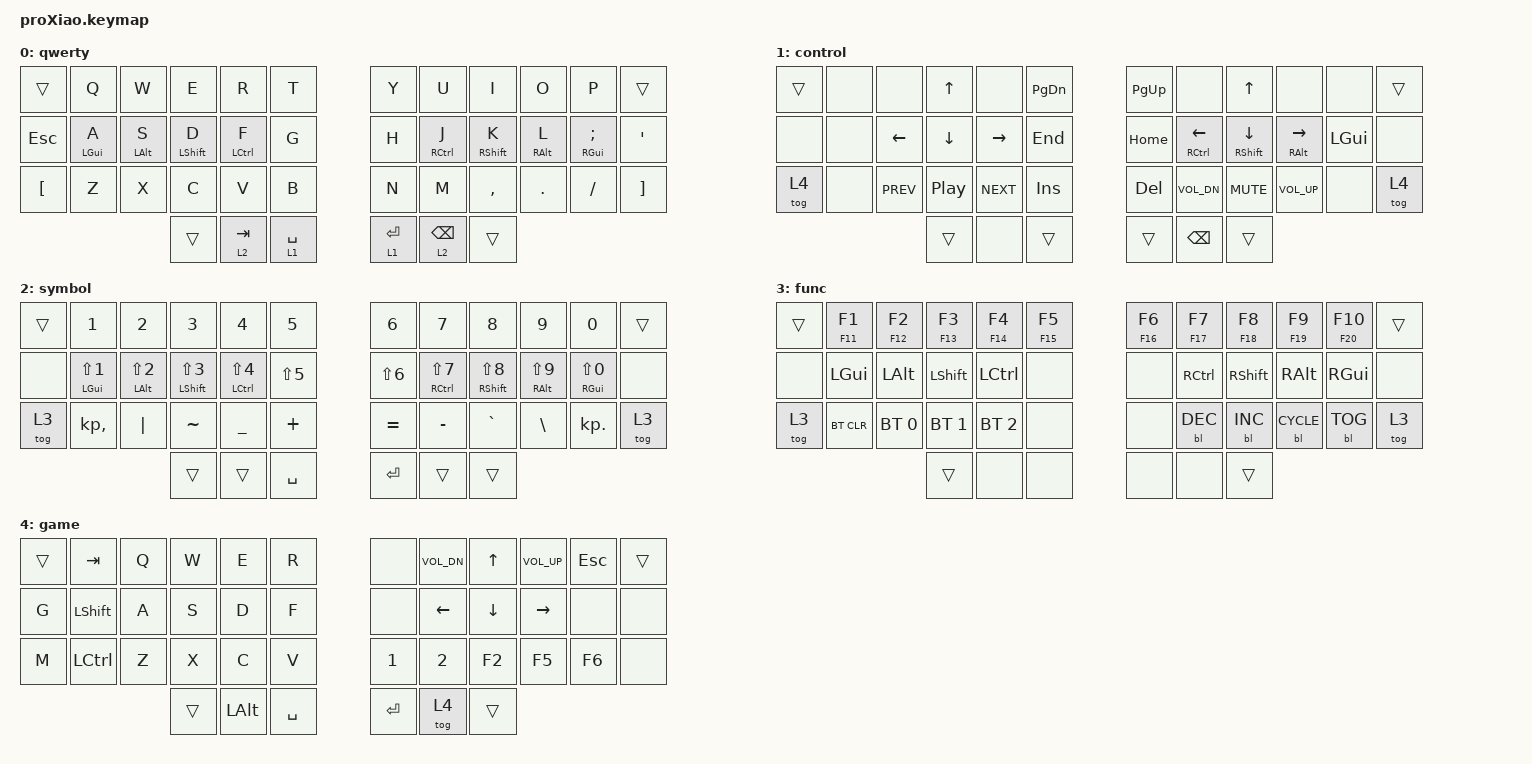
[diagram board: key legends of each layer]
/*
 * Copyright (c) 2020 The ZMK Contributors
 *
 * SPDX-License-Identifier: MIT
 */

#include <behaviors.dtsi>
#include <dt-bindings/zmk/backlight.h>
#include <dt-bindings/zmk/bt.h>
#include <dt-bindings/zmk/keys.h>

#define DEF 0
#define LWR 1
#define RSE 2
#define ADJ 3

&mt {
    tapping-term-ms = <280>;
    flavor = "balanced";
    quick-tap-ms = <175>;
    require-prior-idle-ms = <150>;
};

&lt {
    tapping-term-ms = <280>;
    quick-tap-ms = <175>;
    require-prior-idle-ms = <150>;
    flavor = "balanced";
};

/ {
    macros {
        // Windows sleep key
    };
};

/ {
    combos {
        compatible = "zmk,combos";

        next_input {
            bindings = <&kp LS(LALT)>;
            key-positions = <38 39>;
        };

        window2left {
            bindings = <&kp LS(LG(LEFT))>;
            key-positions = <2 3 4>;
        };

        window2right {
            bindings = <&kp LS(LG(RIGHT))>;
            key-positions = <7 8 9>;
        };
    };

    keymap {
        compatible = "zmk,keymap";

        qwerty {
            bindings = <
&trans            &kp Q           &kp W       &kp E        &kp R        &kp T        &kp Y        &kp U            &kp I        &kp O       &kp P               &trans
&kp ESCAPE        &mt LEFT_GUI A  &mt LALT S  &mt LSHFT D  &mt LCTRL F  &kp G        &kp H        &mt RCTRL J      &mt RSHFT K  &mt RALT L  &mt RGUI SEMICOLON  &kp SQT
&kp LEFT_BRACKET  &kp Z           &kp X       &kp C        &kp V        &kp B        &kp N        &kp M            &kp COMMA    &kp DOT     &kp SLASH           &kp RIGHT_BRACKET
                                              &trans       &lt 2 TAB    &lt 1 SPACE  &lt 1 ENTER  &lt 2 BACKSPACE  &trans
            >;
        };

        control {
            bindings = <
&trans  &none  &none       &kp UP            &none       &kp PG_DN   &kp PG_UP  &none                 &kp UP                &none           &none         &trans
&none   &none  &kp LEFT    &kp DOWN          &kp RIGHT   &kp END     &kp HOME   &mt RCTRL LEFT_ARROW  &mt RSHFT DOWN_ARROW  &mt RALT RIGHT  &kp LEFT_GUI  &none
&tog 4  &none  &kp C_PREV  &kp C_PLAY_PAUSE  &kp C_NEXT  &kp INSERT  &kp DEL    &kp C_VOL_DN          &kp C_MUTE            &kp C_VOL_UP    &none         &tog 4
                           &trans            &none       &trans      &trans     &kp BACKSPACE         &trans
            >;
        };

        symbol {
            bindings = <
&trans  &kp N1                     &kp N2                     &kp N3                  &kp N4                  &kp N5      &kp N6      &kp N7            &kp N8            &kp N9           &kp N0                &trans
&none   &mt LEFT_GUI LS(NUMBER_1)  &mt LEFT_ALT LS(NUMBER_2)  &mt LSHFT LS(NUMBER_3)  &mt LCTRL LS(NUMBER_4)  &kp LS(N5)  &kp LS(N6)  &mt RCTRL LS(N7)  &mt RSHFT LS(N8)  &mt RALT LS(N9)  &mt RIGHT_GUI LS(N0)  &none
&tog 3  &kp KP_COMMA               &kp PIPE                   &kp TILDE               &kp UNDER               &kp PLUS    &kp EQUAL   &kp MINUS         &kp GRAVE         &kp BACKSLASH    &kp KP_DOT            &tog 3
                                                              &trans                  &trans                  &kp SPACE   &kp ENTER   &trans            &trans
            >;
        };

        func {
            bindings = <
&trans  &mt F11 F1  &mt F12 F2    &mt F13 F3    &mt F14 F4    &mt F15 F5  &mt F16 F6  &mt F17 F7  &mt F18 F8  &mt F19 F9    &mt F20 F10  &trans
&none   &kp LGUI    &kp LALT      &kp LSHFT     &kp LCTRL     &none       &none       &kp RCTRL   &kp RSHFT   &kp RALT      &kp RGUI     &none
&tog 3  &bt BT_CLR  &bt BT_SEL 0  &bt BT_SEL 1  &bt BT_SEL 2  &none       &none       &bl BL_DEC  &bl BL_INC  &bl BL_CYCLE  &bl BL_TOG   &tog 3
                                  &trans        &none         &none       &none       &none       &trans
            >;
        };

        game {
            bindings = <
&trans  &kp TAB    &kp Q  &kp W   &kp E     &kp R      &none         &kp C_VOL_DN  &kp UP    &kp C_VOL_UP  &kp ESC  &trans
&kp G   &kp LSHFT  &kp A  &kp S   &kp D     &kp F      &none         &kp LEFT      &kp DOWN  &kp RIGHT     &none    &none
&kp M   &kp LCTRL  &kp Z  &kp X   &kp C     &kp V      &kp NUMBER_1  &kp NUMBER_2  &kp F2    &kp F5        &kp F6   &none
                          &trans  &kp LALT  &kp SPACE  &kp ENTER     &tog 4        &trans
            >;
        };
    };

    conditional_layers { compatible = "zmk,conditional-layers"; };
};
